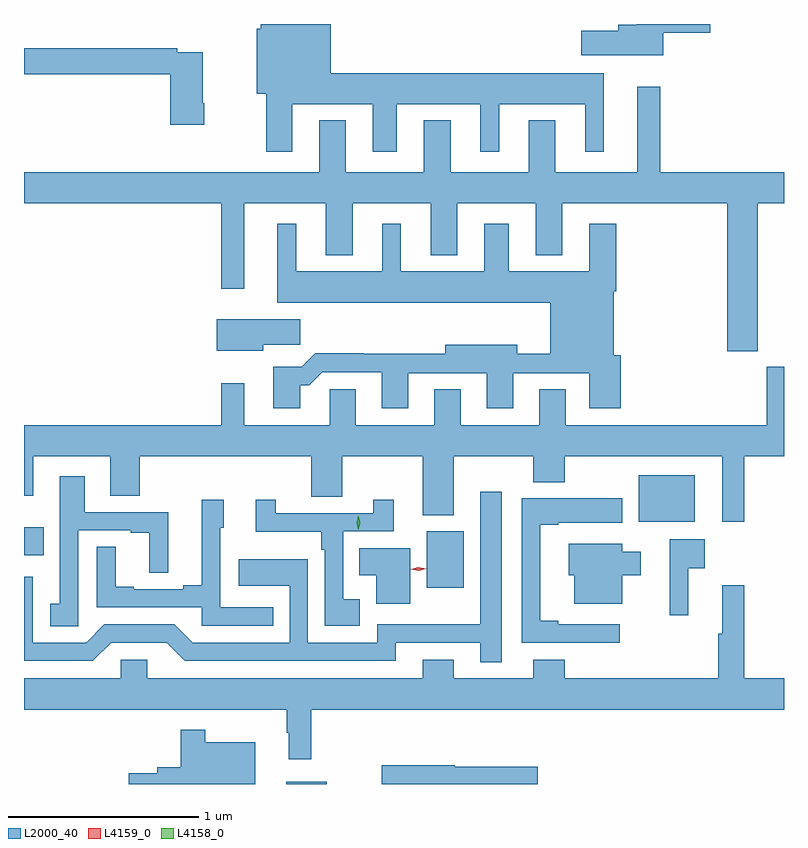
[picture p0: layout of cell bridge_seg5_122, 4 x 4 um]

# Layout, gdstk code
import gdstk
lib = gdstk.Library(unit=1e-6, precision=1e-09)
def R(c, l, rs):  # rectangles x0, y0, x1, y1
    for r in rs: c.add(gdstk.rectangle(r[:2], r[2:], *l))
def P(c, l, *ps):  # polygons
    for p in ps: c.add(gdstk.Polygon(p, *l))
L2000_40 = (2000, 40)
L4158_0 = (4158, 0)
L4159_0 = (4159, 0)

bridge_seg5_122 = lib.new_cell('bridge_seg5_122')
R(bridge_seg5_122, L2000_40, [(435.227,889.668,435.442,889.681), (435.968,890.702,436.162,890.998), (433.848,890.871,433.952,891.019), (437.084,891.047,437.377,891.292)])
P(bridge_seg5_122, L2000_40, [(437.212,893.621),(437.461,893.621),(437.461,893.668),(437.072,893.668),(437.072,893.665),(436.976,893.665),(436.976,893.633),(436.782,893.633),(436.782,893.504),(437.212,893.504)],
  [(435.259,893.246),(435.683,893.246),(435.683,892.995),(435.811,892.995),(435.811,893.246),(436.25,893.246),(436.25,892.995),(436.348,892.995),(436.348,893.246),(436.802,893.246),(436.802,892.995),(436.9,892.995),(436.9,893.41),(435.463,893.41),(435.463,893.668),(435.095,893.668),(435.095,893.644),(435.074,893.644),(435.074,893.3),(435.124,893.3),(435.124,892.995),(435.259,892.995)],
  [(434.796,893.251),(434.788,893.251),(434.788,893.52),(434.654,893.52),(434.654,893.54),(433.848,893.54),(433.848,893.404),(434.618,893.404),(434.618,893.139),(434.796,893.139)],
  [(437.709,892.724),(437.848,892.724),(437.848,892.888),(437.197,892.888),(437.197,893.338),(437.075,893.338),(437.075,892.888),(436.645,892.888),(436.645,893.161),(436.505,893.161),(436.505,892.888),(436.093,892.888),(436.093,893.161),(435.953,893.161),(435.953,892.888),(435.541,892.888),(435.541,893.161),(435.401,893.161),(435.401,892.888),(433.848,892.888),(433.848,892.724),(434.886,892.724),(434.886,892.275),(435.007,892.275),(435.007,892.724),(435.437,892.724),(435.437,892.451),(435.577,892.451),(435.577,892.724),(435.989,892.724),(435.989,892.451),(436.129,892.451),(436.129,892.724),(436.541,892.724),(436.541,892.451),(436.681,892.451),(436.681,892.724),(437.549,892.724),(437.549,891.945),(437.709,891.945)],
  [(435.301,891.767),(435.35,891.767),(435.417,891.834),(435.731,891.834),(435.731,891.645),(435.871,891.645),(435.871,891.831),(436.283,891.831),(436.283,891.645),(436.423,891.645),(436.423,891.831),(436.823,891.831),(436.823,891.645),(436.988,891.645),(436.988,891.924),(436.951,891.924),(436.951,892.262),(436.964,892.262),(436.964,892.618),(436.823,892.618),(436.823,892.366),(436.399,892.366),(436.399,892.618),(436.271,892.618),(436.271,892.366),(435.832,892.366),(435.832,892.618),(435.734,892.618),(435.734,892.366),(435.28,892.366),(435.28,892.618),(435.182,892.618),(435.182,892.202),(436.619,892.202),(436.619,891.932),(436.444,891.932),(436.444,891.979),(436.064,891.979),(436.064,891.932),(435.635,891.932),(435.635,891.935),(435.38,891.935),(435.31,891.865),(435.161,891.865),(435.161,891.645),(435.301,891.645)],
  [(435.106,891.979),(435.301,891.979),(435.301,892.114),(434.862,892.114),(434.862,891.947),(435.106,891.947)],
  [(436.699,891.746),(436.559,891.746),(436.559,891.556),(436.147,891.556),(436.147,891.746),(436.007,891.746),(436.007,891.556),(435.595,891.556),(435.595,891.746),(435.456,891.746),(435.456,891.556),(435.007,891.556),(435.007,891.778),(434.886,891.778),(434.886,891.556),(433.848,891.556),(433.848,891.186),(433.897,891.186),(433.897,891.392),(434.303,891.392),(434.303,891.184),(434.456,891.184),(434.456,891.392),(435.359,891.392),(435.359,891.18),(435.523,891.18),(435.523,891.392),(435.947,891.392),(435.947,891.083),(436.111,891.083),(436.111,891.392),(436.529,891.392),(436.529,891.257),(436.693,891.257),(436.693,891.392),(437.522,891.392),(437.522,891.048),(437.639,891.048),(437.639,891.392),(437.848,891.392),(437.848,891.865),(437.756,891.865),(437.756,891.556),(436.699,891.556)],
  [(434.133,891.003),(434.411,891.003),(434.411,890.991),(434.507,890.991),(434.507,890.779),(434.606,890.779),(434.606,891.099),(434.167,891.099),(434.167,891.289),(434.037,891.289),(434.037,890.616),(433.986,890.616),(433.986,890.497),(434.133,890.497)],
  [(436.363,891.205),(436.25,891.205),(436.25,890.51),(435.976,890.51),(435.976,890.508),(435.708,890.508),(435.708,890.412),(435.342,890.412),(435.342,890.851),(434.979,890.851),(434.979,890.711),(435.246,890.711),(435.246,890.412),(434.736,890.412),(434.64,890.508),(434.271,890.508),(434.175,890.412),(433.893,890.412),(433.893,890.758),(433.848,890.758),(433.848,890.316),(434.211,890.316),(434.307,890.412),(434.598,890.412),(434.694,890.316),(435.805,890.316),(435.805,890.412),(436.25,890.412),(436.25,890.309),(436.363,890.309)],
  [(436.984,890.508),(436.66,890.508),(436.66,890.528),(436.564,890.528),(436.564,891.032),(436.66,891.032),(436.66,891.044),(436.996,891.044),(436.996,891.172),(436.467,891.172),(436.467,890.412),(436.984,890.412)],
  [(435.616,890.641),(435.528,890.641),(435.528,890.997),(435.793,890.997),(435.793,891.163),(435.687,891.163),(435.687,891.093),(435.174,891.093),(435.174,891.163),(435.069,891.163),(435.069,890.996),(435.412,890.996),(435.412,890.9),(435.432,890.9),(435.432,890.501),(435.616,890.501)],
  [(435.161,890.598),(434.88,890.598),(434.88,891.018),(434.899,891.018),(434.899,891.163),(434.783,891.163),(434.783,890.714),(434.687,890.714),(434.687,890.694),(434.425,890.694),(434.425,890.707),(434.33,890.707),(434.33,890.918),(434.232,890.918),(434.232,890.598),(434.784,890.598),(434.784,890.502),(435.161,890.502)],
  [(437.345,890.804),(437.431,890.804),(437.431,890.956),(437.246,890.956),(437.246,890.556),(437.345,890.556)],
  [(436.996,890.768),(437.095,890.768),(437.095,890.89),(436.996,890.89),(436.996,890.932),(436.715,890.932),(436.715,890.768),(436.745,890.768),(436.745,890.618),(436.996,890.618)],
  [(435.88,890.908),(435.613,890.908),(435.613,890.768),(435.701,890.768),(435.701,890.618),(435.88,890.618)],
  [(435.359,890.06),(437.848,890.06),(437.848,890.224),(437.639,890.224),(437.639,890.713),(437.522,890.713),(437.522,890.46),(437.503,890.46),(437.503,890.224),(436.693,890.224),(436.693,890.323),(436.529,890.323),(436.529,890.224),(436.111,890.224),(436.111,890.323),(435.947,890.323),(435.947,890.224),(434.497,890.224),(434.497,890.322),(434.358,890.322),(434.358,890.224),(433.848,890.224),(433.848,890.06),(435.231,890.06),(435.231,889.937),(435.242,889.937),(435.242,889.797),(435.359,889.797)],
  [(435.064,889.888),(434.803,889.888),(434.803,889.954),(434.674,889.954),(434.674,889.755),(434.549,889.755),(434.549,889.725),(434.4,889.725),(434.4,889.668),(435.064,889.668)],
  [(436.553,889.759),(436.116,889.759),(436.116,889.767),(435.732,889.767),(435.732,889.668),(436.553,889.668)])
P(bridge_seg5_122, L4158_0, [(435.608,891.007),(435.608,891.007),(435.598,891.043),(435.607,891.079),(435.607,891.079),(435.607,891.079),(435.618,891.043),(435.608,891.007)])
P(bridge_seg5_122, L4159_0, [(435.925,890.79),(435.883,890.799),(435.883,890.799),(435.883,890.799),(435.924,890.81),(435.965,890.802),(435.965,890.802),(435.965,890.802)])

lib.write_gds('bridge_seg5_122.gds')
